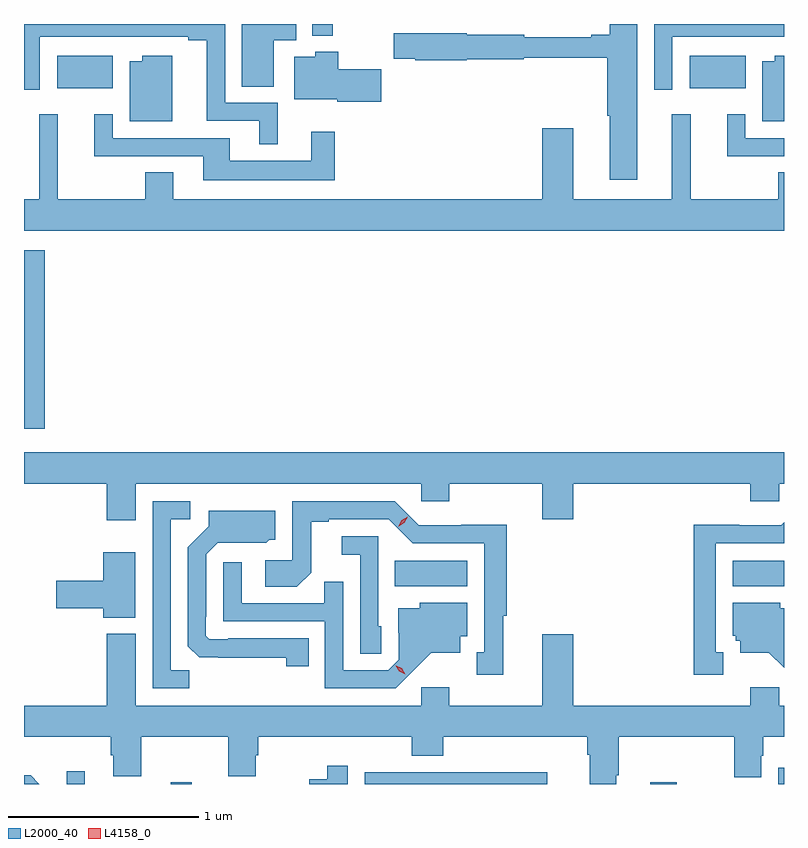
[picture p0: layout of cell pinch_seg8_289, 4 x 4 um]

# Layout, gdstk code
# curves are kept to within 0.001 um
import gdstk
lib = gdstk.Library(unit=1e-6, precision=1e-09)
def R(c, l, rs):  # rectangles x0, y0, x1, y1
    for r in rs: c.add(gdstk.rectangle(r[:2], r[2:], *l))
def P(c, l, *ps):  # polygons
    for p in ps: c.add(gdstk.Polygon(p, *l))
L2000_40 = (2000, 40)
L4158_0 = (4158, 0)

pinch_seg8_289 = lib.new_cell('pinch_seg8_289')
R(pinch_seg8_289, L2000_40, [(522.144,1153.547,522.241,1153.615), (522.692,1153.547,522.803,1153.555), (525.215,1153.547,525.356,1153.555), (525.89,1153.547,525.92,1153.633), (523.87,1154.588,524.254,1154.722), (525.65,1154.588,525.92,1154.722), (521.92,1155.417,522.029,1156.357), (522.095,1157.21,522.388,1157.38), (525.425,1157.21,525.718,1157.38), (523.437,1157.486,523.546,1157.547)])
P(pinch_seg8_289, L2000_40, [(523.255,1157.133),(522.978,1157.133),(522.978,1157.547),(521.92,1157.547),(521.92,1157.202),(522.003,1157.202),(522.003,1157.481),(522.785,1157.481),(522.785,1157.461),(522.881,1157.461),(522.881,1157.037),(523.157,1157.037),(523.157,1156.913),(523.255,1156.913)],
  [(525.148,1157.547),(525.002,1157.547),(525.002,1157.491),(524.906,1157.491),(524.906,1157.478),(524.552,1157.478),(524.552,1157.491),(524.25,1157.491),(524.25,1157.499),(523.866,1157.499),(523.866,1157.365),(523.978,1157.365),(523.978,1157.357),(524.25,1157.357),(524.25,1157.362),(524.55,1157.362),(524.55,1157.37),(524.99,1157.37),(524.99,1157.063),(525.002,1157.063),(525.002,1156.728),(525.148,1156.728)],
  [(525.333,1157.481),(525.92,1157.481),(525.92,1157.547),(525.237,1157.547),(525.237,1157.202),(525.333,1157.202)],
  [(523.234,1157.462),(523.352,1157.462),(523.352,1157.547),(523.067,1157.547),(523.067,1157.218),(523.234,1157.218)],
  [(523.801,1157.31),(523.573,1157.31),(523.573,1157.401),(523.452,1157.401),(523.452,1157.374),(523.343,1157.374),(523.343,1157.15),(523.569,1157.15),(523.569,1157.138),(523.801,1157.138)],
  [(525.92,1157.38),(525.872,1157.38),(525.872,1157.35),(525.806,1157.35),(525.806,1157.036),(525.92,1157.036)],
  [(522.7,1157.38),(522.542,1157.38),(522.542,1157.35),(522.476,1157.35),(522.476,1157.036),(522.7,1157.036)],
  [(525.92,1156.766),(525.889,1156.766),(525.889,1156.624),(525.428,1156.624),(525.428,1157.071),(525.329,1157.071),(525.329,1156.624),(524.812,1156.624),(524.812,1156.999),(524.648,1156.999),(524.648,1156.624),(522.706,1156.624),(522.706,1156.766),(522.559,1156.766),(522.559,1156.624),(522.098,1156.624),(522.098,1157.071),(521.999,1157.071),(521.999,1156.624),(521.92,1156.624),(521.92,1156.46),(525.92,1156.46)],
  [(523.555,1156.981),(523.433,1156.981),(523.433,1156.828),(523.003,1156.828),(523.003,1156.947),(522.387,1156.947),(522.387,1157.071),(522.29,1157.071),(522.29,1156.851),(522.863,1156.851),(522.863,1156.724),(523.555,1156.724)],
  [(525.92,1156.947),(525.717,1156.947),(525.717,1157.071),(525.62,1157.071),(525.62,1156.851),(525.92,1156.851)],
  [(522.508,1155.128),(524.01,1155.128),(524.01,1155.035),(524.157,1155.035),(524.157,1155.128),(524.648,1155.128),(524.648,1154.94),(524.812,1154.94),(524.812,1155.128),(525.743,1155.128),(525.743,1155.035),(525.894,1155.035),(525.894,1155.128),(525.92,1155.128),(525.92,1155.292),(521.92,1155.292),(521.92,1155.128),(522.356,1155.128),(522.356,1154.934),(522.508,1154.934)],
  [(524.443,1154.433),(524.461,1154.433),(524.461,1154.912),(524.22,1154.912),(524.22,1154.91),(523.998,1154.91),(523.872,1155.036),(523.332,1155.036),(523.332,1154.724),(523.191,1154.724),(523.191,1154.584),(523.355,1154.584),(523.431,1154.66),(523.431,1154.928),(523.525,1154.928),(523.525,1154.94),(523.839,1154.94),(523.965,1154.814),(524.342,1154.814),(524.342,1154.241),(524.303,1154.241),(524.303,1154.121),(524.443,1154.121)],
  [(522.789,1154.147),(522.693,1154.147),(522.693,1154.94),(522.796,1154.94),(522.796,1155.036),(522.597,1155.036),(522.597,1154.052),(522.789,1154.052)],
  [(523.418,1154.313),(522.994,1154.313),(522.994,1154.31),(522.894,1154.31),(522.876,1154.328),(522.876,1154.428),(522.879,1154.428),(522.879,1154.757),(522.939,1154.817),(523.196,1154.816),(523.212,1154.832),(523.243,1154.832),(523.243,1154.986),(522.893,1154.986),(522.893,1154.904),(522.783,1154.794),(522.783,1154.272),(522.842,1154.213),(523.3,1154.212),(523.3,1154.166),(523.418,1154.166)],
  [(525.601,1154.241),(525.562,1154.241),(525.562,1154.814),(525.92,1154.814),(525.92,1154.924),(525.906,1154.91),(525.684,1154.91),(525.684,1154.912),(525.444,1154.912),(525.444,1154.121),(525.601,1154.121)],
  [(523.8,1154.376),(523.785,1154.376),(523.785,1154.85),(523.593,1154.85),(523.593,1154.753),(523.689,1154.753),(523.689,1154.233),(523.8,1154.233)],
  [(522.505,1154.767),(522.338,1154.767),(522.338,1154.618),(522.09,1154.618),(522.09,1154.471),(522.338,1154.471),(522.338,1154.423),(522.505,1154.423)],
  [(523.96,1154.135),(524.063,1154.237),(524.215,1154.237),(524.215,1154.324),(524.254,1154.324),(524.254,1154.5),(524.004,1154.5),(524.004,1154.473),(523.889,1154.473),(523.889,1154.344),(523.893,1154.344),(523.893,1154.202),(523.836,1154.145),(523.599,1154.145),(523.599,1154.612),(523.501,1154.612),(523.501,1154.499),(523.065,1154.499),(523.065,1154.713),(522.969,1154.713),(522.969,1154.403),(523.503,1154.403),(523.503,1154.052),(523.876,1154.052)],
  [(525.92,1154.473),(525.9,1154.473),(525.9,1154.5),(525.65,1154.5),(525.65,1154.328),(525.666,1154.328),(525.666,1154.301),(525.689,1154.301),(525.689,1154.237),(525.841,1154.237),(525.92,1154.159)],
  [(522.508,1154.338),(522.356,1154.338),(522.356,1153.96),(521.92,1153.96),(521.92,1153.796),(522.377,1153.796),(522.377,1153.698),(522.389,1153.698),(522.389,1153.588),(522.537,1153.588),(522.537,1153.796),(522.994,1153.796),(522.994,1153.588),(523.141,1153.588),(523.141,1153.698),(523.154,1153.698),(523.154,1153.796),(523.961,1153.796),(523.961,1153.697),(524.126,1153.697),(524.126,1153.796),(524.885,1153.796),(524.885,1153.7),(524.897,1153.7),(524.897,1153.547),(525.037,1153.547),(525.037,1153.594),(525.05,1153.594),(525.05,1153.796),(525.659,1153.796),(525.659,1153.583),(525.799,1153.583),(525.799,1153.695),(525.812,1153.695),(525.812,1153.796),(525.92,1153.796),(525.92,1153.96),(525.894,1153.96),(525.894,1154.056),(525.743,1154.056),(525.743,1153.96),(524.812,1153.96),(524.812,1154.335),(524.648,1154.335),(524.648,1153.96),(524.157,1153.96),(524.157,1154.056),(524.01,1154.056),(524.01,1153.96),(522.508,1153.96)],
  [(523.623,1153.642),(523.515,1153.642),(523.515,1153.572),(523.422,1153.572),(523.422,1153.547),(523.623,1153.547)],
  [(524.673,1153.61),(524.209,1153.61),(524.209,1153.608),(523.713,1153.608),(523.713,1153.547),(524.673,1153.547)],
  [(521.956,1153.592),(521.92,1153.592),(521.92,1153.547),(522.001,1153.547)])
P(pinch_seg8_289, L4158_0, [(523.89,1154.902),(523.89,1154.902),(523.907,1154.935),(523.939,1154.954),(523.939,1154.954),(523.939,1154.954),(523.922,1154.921),(523.89,1154.902)],
  [(523.926,1154.125),(523.895,1154.14),(523.877,1154.169),(523.877,1154.17),(523.878,1154.17),(523.908,1154.155),(523.926,1154.125),(523.926,1154.125)])

lib.write_gds('pinch_seg8_289.gds')
